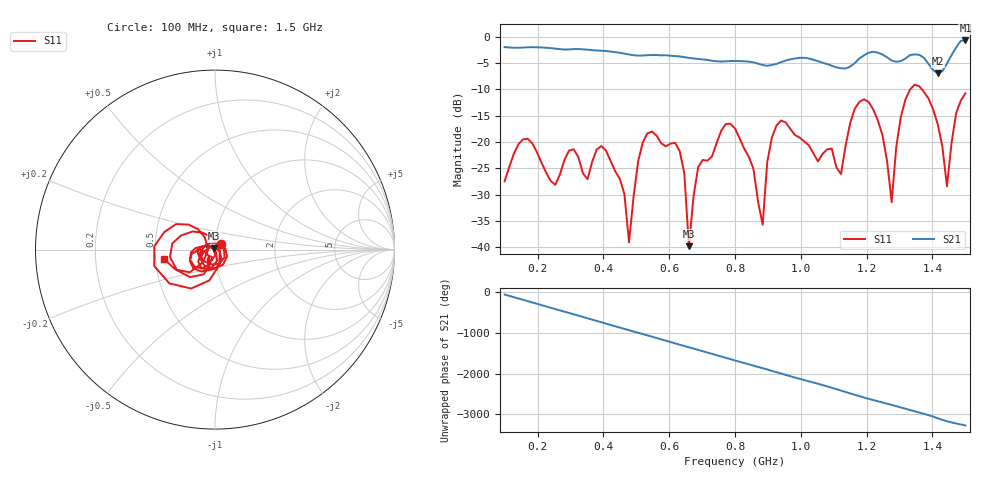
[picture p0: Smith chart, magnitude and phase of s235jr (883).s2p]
! NanoVNA-App
! Date: 2025-09-25 15:11:02
! Start: 100MHz Stop: 1,5GHz Points: 101
! S-Parameter data: F S11 S21 S12 S22
# Hz S RI R 50
!  Frequency  S11_Real  S11_Imag  S21_Real  S21_Imag  S12_Real  S12_Imag  S22_Real  S22_Imag
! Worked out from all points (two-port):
!   101 points, 100 MHz to 1.5 GHz, reference 50 ohm
!   highest |S21| = -0.70 dB at 1.5 GHz (marker M1); lowest = -6.9 dB at 1.416 GHz (marker M2)
!   |S21| within 3 dB of the highest: start of sweep to 624.8 MHz; 1.188 GHz to 1.257 GHz (68.87 MHz wide, 5.64 % of centre) (the widest 2 of 4)
!   lowest |S11| = -39.8 dB at 660 MHz (marker M3), VSWR 1.02, Z = 49.2 + j0.643 ohm
!   |S11| at or under -10 dB: start of sweep to 1.332 GHz; 1.368 GHz to end of sweep
!   S12 and S22 are empty: the file has one direction only
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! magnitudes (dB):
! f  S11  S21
! 100 MHz  -27.5  -2.0
! 170 MHz  -19.4  -2.0
! 338 MHz  -26.0  -2.4
! 408 MHz  -21.6  -2.7
! 464 MHz  -29.9  -3.2
! 478 MHz  -39.1  -3.4
! 520 MHz  -20.0  -3.6
! 576 MHz  -20.3  -3.5
! 632 MHz  -21.7  -3.7
! 660 MHz  -39.8  -4.0
! 688 MHz  -24.8  -4.2
! 800 MHz  -17.4  -4.6
! 884 MHz  -35.7  -5.4
! 926 MHz  -16.9  -5.2
! 1.038 GHz  -22.1  -4.4
! 1.122 GHz  -26.1  -6.0
! 1.206 GHz  -12.4  -3.0
! 1.276 GHz  -31.4  -4.5
! 1.332 GHz  -10.0  -3.5
! 1.416 GHz  -16.6  -6.9
! 1.444 GHz  -28.4  -5.1
! 1.5 GHz  -10.7  -0.7
